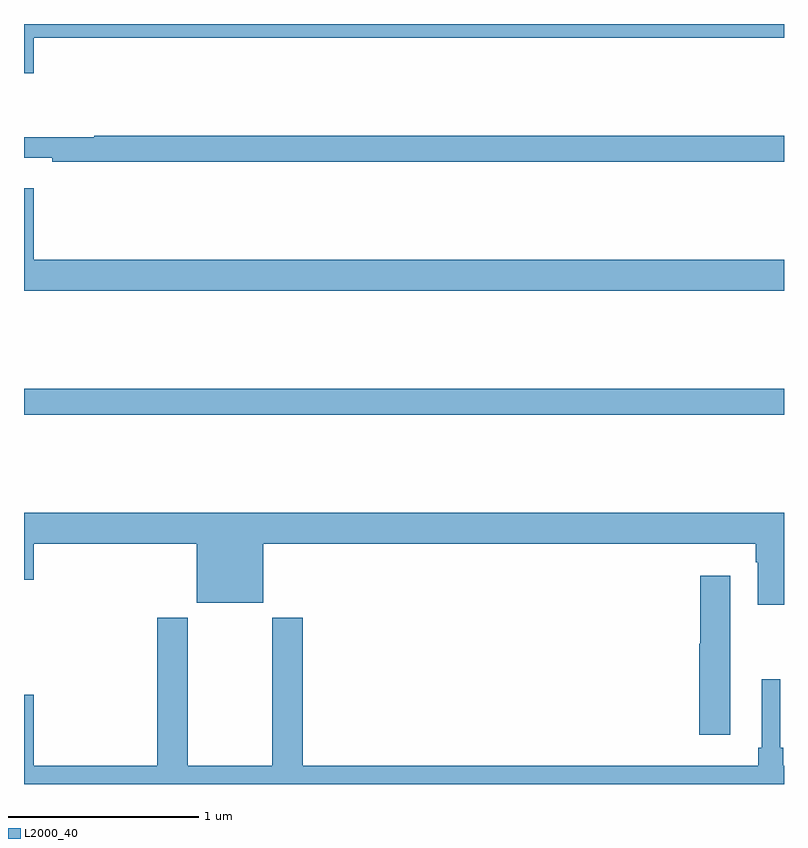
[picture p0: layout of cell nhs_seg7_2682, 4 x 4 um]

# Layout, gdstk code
import gdstk
lib = gdstk.Library(unit=1e-6, precision=1e-09)
def R(c, l, rs):  # rectangles x0, y0, x1, y1
    for r in rs: c.add(gdstk.rectangle(r[:2], r[2:], *l))
def P(c, l, *ps):  # polygons
    for p in ps: c.add(gdstk.Polygon(p, *l))
L2000_40 = (2000, 40)

nhs_seg7_2682 = lib.new_cell('nhs_seg7_2682')
R(nhs_seg7_2682, L2000_40, [(285,1019.944,289,1020.08)])
P(nhs_seg7_2682, L2000_40, [(285.052,1021.928),(289,1021.928),(289,1022),(285,1022),(285,1021.74),(285.052,1021.74)],
  [(289,1021.412),(285.371,1021.412),(285.371,1021.405),(285,1021.405),(285,1021.295),(285.148,1021.295),(285.148,1021.276),(289,1021.276)],
  [(285,1021.135),(285,1020.596),(289,1020.596),(289,1020.76),(285.052,1020.76),(285.052,1021.135)],
  [(289,1019.428),(285,1019.428),(285,1019.076),(285.052,1019.076),(285.052,1019.264),(285.908,1019.264),(285.908,1018.955),(286.258,1018.955),(286.258,1019.264),(288.851,1019.264),(288.851,1019.168),(288.863,1019.168),(288.863,1018.944),(289,1018.944)],
  [(288.718,1019.095),(288.56,1019.095),(288.56,1018.737),(288.554,1018.737),(288.554,1018.26),(288.718,1018.26)],
  [(289,1018.096),(288.995,1018.096),(288.995,1018.192),(288.981,1018.192),(288.981,1018.552),(288.884,1018.552),(288.884,1018.192),(288.865,1018.192),(288.865,1018.096),(286.466,1018.096),(286.466,1018.876),(286.306,1018.876),(286.306,1018.096),(285.861,1018.096),(285.861,1018.876),(285.701,1018.876),(285.701,1018.096),(285.052,1018.096),(285.052,1018.471),(285,1018.471),(285,1018),(289,1018)])

lib.write_gds('nhs_seg7_2682.gds')
